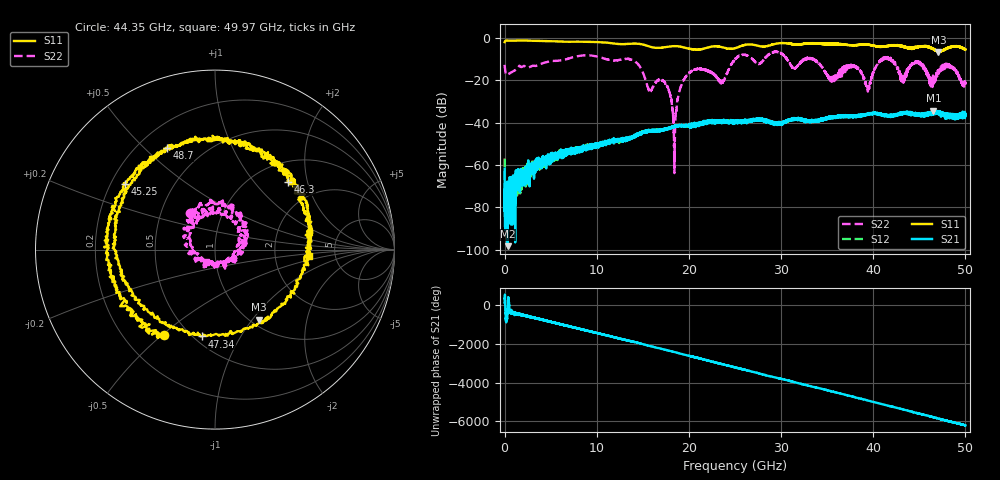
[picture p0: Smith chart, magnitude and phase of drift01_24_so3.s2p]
!Created with skrf (http://scikit-rf.org).
# Hz S RI R 50.0
!freq ReS11 ImS11 ReS21 ImS21 ReS12 ImS12 ReS22 ImS22
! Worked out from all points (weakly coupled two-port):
!   10001 points, 300 kHz to 50 GHz, reference 50 ohm
!   highest |S21| = -34.43 dB at 46.53 GHz (marker M1); lowest = -98.2 dB at 325.3 MHz (marker M2)
!   lowest |S11| = -6.8 dB at 47.07 GHz (marker M3), VSWR 2.70, Z = 54.5 - j53.9 ohm
!   |S11| at or under -10 dB: nowhere
!   |S22| runs from -63.8 to -6.7 dB; largest |S21 - S12| = 0.0041
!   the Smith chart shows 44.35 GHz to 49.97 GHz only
!   S11 on the Smith chart (normalised r, x): 44.35 GHz: 0.37, -0.51; 45.25 GHz: 0.26, +0.31; 46.3 GHz: 1.41, +1.53; 47.34 GHz: 0.55, -0.70; 48.7 GHz: 0.31, +0.59; 49.97 GHz: 3.18, -0.30
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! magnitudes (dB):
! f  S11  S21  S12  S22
! 300 kHz  -2.1  -61.8  -56.9  -12.8
! 325.3 MHz  -1.4  -98.2  -77.2  -17.4
! 8.335 GHz  -2.0  -52.2  -51.3  -8.5
! 16.67 GHz  -4.8  -43.5  -43.8  -20.0
! 17.74 GHz  -4.3  -42.6  -42.7  -23.9
! 18.43 GHz  -4.1  -41.6  -41.8  -57.3
! 19.89 GHz  -5.1  -41.5  -41.5  -17.1
! 23.59 GHz  -4.5  -40.0  -39.3  -20.5
! 25 GHz  -5.0  -39.7  -39.8  -10.3
! 33.34 GHz  -2.6  -39.4  -39.3  -10.0
! 39.46 GHz  -3.3  -36.3  -36.1  -23.5
! 41.67 GHz  -3.9  -36.9  -36.7  -10.3
! 43.19 GHz  -4.2  -35.4  -35.7  -18.7
! 44.35 GHz  -5.1  -36.2  -36.0  -12.1
! 45.25 GHz  -4.1  -36.4  -36.9  -12.5
! 46.3 GHz  -5.1  -35.6  -35.3  -23.2
! 46.53 GHz  -5.3  -34.4  -35.3  -19.3
! 47.07 GHz  -6.8  -35.6  -35.2  -16.3
! 47.34 GHz  -6.2  -37.3  -35.0  -13.6
! 48.7 GHz  -4.1  -37.3  -37.2  -14.3
! 49.97 GHz  -5.6  -36.5  -36.6  -21.5
! 50 GHz  -5.6  -36.8  -37.4  -22.0
